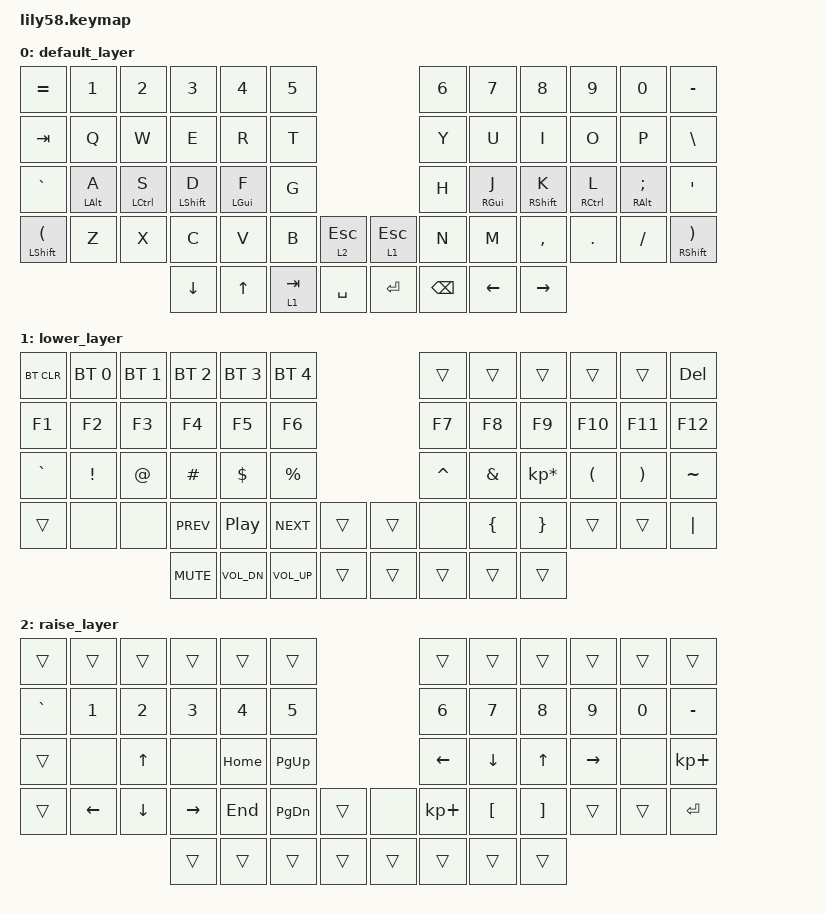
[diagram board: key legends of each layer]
/*
 * Copyright (c) 2020 The ZMK Contributors
 *
 * SPDX-License-Identifier: MIT
 */

#include <behaviors.dtsi>
#include <dt-bindings/zmk/keys.h>
#include <dt-bindings/zmk/bt.h>
#include <dt-bindings/zmk/ext_power.h>

// Configure mod-tap duration to be 150ms.
&mt {
    tapping-term-ms = <150>;
};

/ {
    behaviors {
        bhm: balanced_homerow_mods {
            compatible = "zmk,behavior-hold-tap";
            label = "HOMEROW_MODS";
            #binding-cells = <2>;
            tapping-term-ms = <200>;    // <---[[moderate duration]]
            quick-tap-ms = <150>;
            global-quick-tap;
            flavor = "balanced";
            bindings = <&kp>, <&kp>;
        };
    };
    /*
      Home row setup:
      ALT(option) CTRL GUI(command) SHIFT
    */

	keymap {
		compatible = "zmk,keymap";
		default_layer {
// ------------------------------------------------------------------------------------------------------------
// |   =   |  1  |  2  |  3   |  4   |  5    |                   |  6   |  7    |  8    |  9   |   0   |   -   |
// |  TAB  |  Q  |  W  |  E   |  R   |  T    |                   |  Y   |  U    |  I    |  O   |   P   |   \   |
// |   `   |  A  |  S  |  D   |  F   |  G    |                   |  H   |  J    |  K    |  L   |   ;   |   '   |
// |(SHIFT |  Z  |  X  |  C   |  V   |  B    | L2/ESC |  | L1/ESC|  N   |  M    |  ,    |  .   |   /   | SHIFT)|
//                     |  UP  | DOWN | L2/TAB|  SPACE |  | ENTER | BSCP |  <-   |  ->   |
			bindings = <
&kp EQUAL &kp N1 &kp N2 &kp N3   &kp N4   &kp N5                     &kp N6 &kp N7   &kp N8    &kp N9  &kp N0   &kp MINUS
&kp TAB   &kp Q  &kp W  &kp E    &kp R    &kp T                      &kp Y  &kp U    &kp I     &kp O   &kp P    &kp BSLH
&kp GRAVE &bhm LALT A  &bhm LCTRL S  &bhm LSHIFT D    &bhm LGUI F    &kp G                      &kp H  &bhm RGUI J    &bhm RSHIFT K     &bhm RCTRL L   &bhm RALT SEMI &kp SQT
&mt LSHFT LPAR &kp Z  &kp X  &kp C    &kp V    &kp B  &lt 2 ESC   &lt 1 ESC &kp N  &kp M    &kp COMMA &kp DOT &kp FSLH &mt RSHFT RPAR
                        &kp DOWN &kp UP &lt 1 TAB  &kp SPACE  &kp RET  &kp BSPC &kp LEFT &kp RIGHT
			>;
		};

        // Lower layer is function and media controls, mainly.
		lower_layer {
// ------------------------------------------------------------------------------------------------------------
// | BTCLR | BT1 | BT2 |  BT3 |  BT4 |  BT5 |                   |      |       |       |      |       |  DEL  |
// |  F1   |  F2 |  F3 |  F4  |  F5  |  F6  |                   |  F7  |  F8   |  F9   |  F10 |  F11  |  F12  |
// |   `   |  !  |  @  |  #   |  $   |  %   |                   |  ^   |  &    |  *    |  (   |   )   |   ~   |
// |       |     |     | MPV  | MPL  | MNX  |        |  |       |      |  {    |  }    |      |       |  "|"  |
//                     | VOL0 | VOL- | VOL+ |        |  |       |      |       |       |
			bindings = <
&bt BT_CLR &bt BT_SEL 0     &bt BT_SEL 1      &bt BT_SEL 2      &bt BT_SEL 3 &bt BT_SEL 4                    &trans    &trans    &trans          &trans    &trans    &kp DEL
&kp F1     &kp F2           &kp F3            &kp F4            &kp F5       &kp F6                          &kp F7    &kp F8    &kp F9          &kp F10   &kp F11   &kp F12
&kp GRAVE  &kp EXCL         &kp AT            &kp HASH          &kp DOLLAR   &kp PRCNT                       &kp CARET &kp AMPS  &kp KP_MULTIPLY &kp LPAR  &kp RPAR  &kp TILDE
&trans     &none            &none             &kp C_PREV        &kp C_PP     &kp C_NEXT    &trans   &trans    &none     &kp LBRC  &kp RBRC       &trans    &trans    &kp PIPE
                                              &kp C_MUTE        &kp C_VOL_DN &kp C_VOL_UP  &trans   &trans    &trans    &trans    &trans
			>;
		};

        // Raised layer is navigation, mainly.
		raise_layer {
// ------------------------------------------------------------------------------------------------------------
// |       |     |     |      |      |      |                   |      |       |       |      |       |       |
// |   `   |  1  |  2  |  3   |  4   |  5   |                   |  6   |   7   |   8   |  9   |   0   |   -   |
// |       |     |  ^  |      | HOME | PGUP |                   |  <-  |   v   |   ^   |  ->  |       |   +   |
// |       | <-  |  v  |  ->  | END  | PGDN |        |  |       |      |   [   |   ]   |      |       | ENTER |
//                     |      |      |      |        |  |       |      |       |       |
			bindings = <
&trans    &trans &trans &trans  &trans  &trans                       &trans      &trans    &trans    &trans   &trans    &trans
&kp GRAVE &kp N1 &kp N2 &kp N3  &kp N4  &kp N5                       &kp N6      &kp N7    &kp N8    &kp N9   &kp N0    &kp MINUS
&trans    &none &kp UP &none  &kp HOME &kp PG_UP                     &kp LEFT  &kp DOWN  &kp UP   &kp RIGHT   &none       &kp KP_PLUS
&trans    &kp LEFT &kp DOWN &kp RIGHT  &kp END  &kp PG_DN    &trans   &none      &kp KP_PLUS &kp LBKT  &kp RBKT  &trans   &trans    &kp RET
                        &trans  &trans  &trans  &trans       &trans    &trans      &trans    &trans
			>;
		};
	};
};
